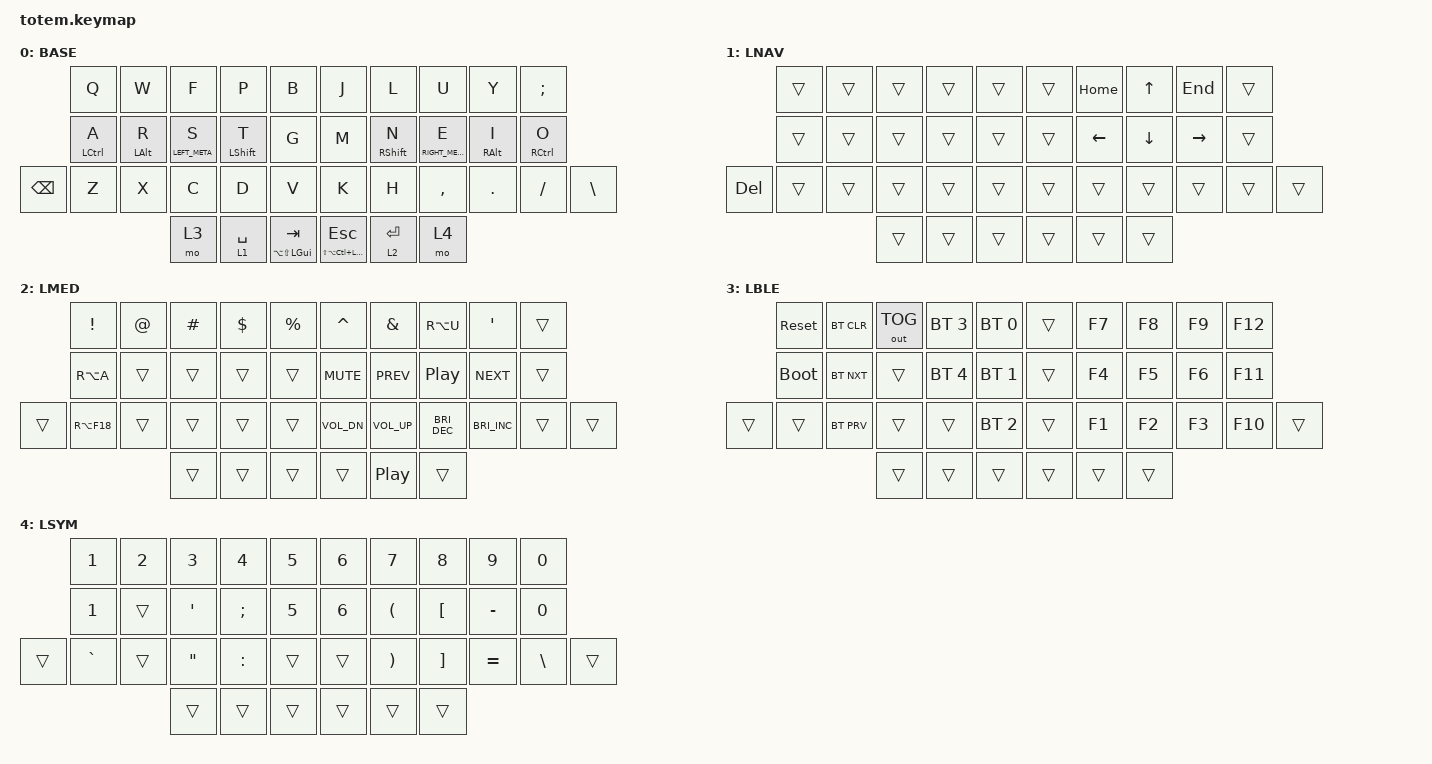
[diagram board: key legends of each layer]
//
//                                                        ▀▀▀▀▀     ▀▀▀▀▀          ▀▀█▀▀
//                                                        ▄▀▀▀▄  ▄  ▄▀▀▀▄  ▄  ▄▀▀▀▄  █  ▄▀▀▀▄
//                                                        █   █  █  █   █  █  █   █  █  █   █
//                                                         ▀▀▀   █   ▀▀▀   █   ▀▀▀   ▀   ▀▀▀
//                                                               █      ▄▄▄█▄▄▄    █   █  
//                                                               ▀      █  █  █     █▄█
//                                                             ▀▀▀▀▀    █  █  █      ▀
//                                                                      ▀  ▀  ▀
//
// ▄▄▄▄▄▄▄▄▄▄▄▄▄▄▄▄▄▄▄▄▄▄▄▄▄▄▄▄▄▄▄▄▄▄▄▄▄▄▄▄▄▄▄▄▄▄▄▄▄▄▄▄▄▄▄▄▄▄▄▄▄▄▄▄▄▄▄▄▄▄▄▄▄▄▄▄▄▄▄▄▄▄▄▄▄▄▄▄▄▄▄▄▄▄▄▄▄▄▄▄▄▄▄▄▄▄▄▄▄▄▄▄▄▄▄▄▄▄▄▄▄▄▄▄▄▄▄▄▄▄▄▄▄▄▄▄▄▄▄▄▄▄▄▄▄▄▄▄▄

#include <behaviors.dtsi>
#include <dt-bindings/zmk/bt.h>
#include <dt-bindings/zmk/keys.h>
#include <dt-bindings/zmk/outputs.h>

#define BASE 0
#define NAV  1
#define SYM  2
#define ADJ  3
#define TVP1 4
#define TVP2 5

&mt {
    quick-tap-ms = <100>;
    global-quick-tap;
    flavor = "tap-preferred";
    tapping-term-ms = <170>;
};

/ {
    combos {
        compatible = "zmk,combos";

        combo_esc {
            timeout-ms = <50>;
            key-positions = <0 1>;
            bindings = <&kp ESC>;
        };

        combo_tvp {
            timeout-ms = <100>;
            key-positions = <11 12 13>;
            bindings = <&tog 0>;
        };
    };

    macros {
        gif: gif {
            label = "giphy";
            compatible = "zmk,behavior-macro";
            #binding-cells = <0>;
            bindings =
                <&macro_press>,
                <&kp LSHFT>,
                <&macro_tap>,
                <&kp N2>,
                <&macro_release>,
                <&kp LSHFT>,
                <&macro_tap>,
                <&kp G &kp I &kp F>;
        };
    };

    behaviors {
        hm: HOMEROW_MOD {
            compatible = "zmk,behavior-hold-tap";
            label = "HOMEROW_MOD";
            bindings = <&kp>, <&kp>;

            #binding-cells = <2>;
            tapping-term-ms = <150>;
            quick-tap-ms = <0>;
            flavor = "tap-preferred";
        };
    };

    keymap {
        compatible = "zmk,keymap";

        // ▄▄▄▄▄▄▄▄▄▄▄▄▄▄▄▄▄▄▄▄▄▄▄▄▄▄▄▄▄▄▄▄▄▄▄▄▄▄▄▄▄▄▄▄▄▄▄▄▄▄▄▄▄▄▄▄▄▄▄▄▄▄▄▄▄▄▄▄▄▄▄▄▄▄▄▄▄▄▄▄▄▄▄▄▄▄▄▄▄▄▄▄▄▄▄▄▄▄▄▄▄▄▄▄▄▄▄▄▄▄▄▄▄▄▄▄▄▄▄▄▄▄▄▄▄▄▄▄▄▄▄▄▄▄▄▄▄▄▄▄▄▄▄▄▄▄▄▄▄

        base_layer {
            // ┏━━━━━━━━━━━━━━━━━━━━━━━━━━━━━━━━━━━━━━━┓

            label = "BASE";

            // ┗━━━━━━━━━━━━━━━━━━━━━━━━━━━━━━━━━━━━━━━┛
            //             ┏━━━━━━━━━━━┳━━━━━━━━━━━┳━━━━━━━━━━━┳━━━━━━━━━━━┳━━━━━━━━━━━┓   ┏━━━━━━━━━━━┳━━━━━━━━━━━┳━━━━━━━━━━━┳━━━━━━━━━━━┳━━━━━━━━━━━┓
            //             ┃     Q     ┃     W     ┃     F     ┃     P     ┃     G     ┃   ┃     J     ┃     L     ┃     U     ┃     Y     ┃     ;     ┃
            //             ┣━━━━━━━━━━━╋━━━━━━━━━━━╋━━━━━━━━━━━╋━━━━━━━━━━━╋━━━━━━━━━━━┫   ┣━━━━━━━━━━━╋━━━━━━━━━━━╋━━━━━━━━━━━╋━━━━━━━━━━━╋━━━━━━━━━━━┫
            //             ┃     A     ┃     R     ┃     S     ┃     T     ┃     D     ┃   ┃     H     ┃     N     ┃     E     ┃     I     ┃     O     ┃
            // ┏━━━━━━━━━━━╋━━━━━━━━━━━╋━━━━━━━━━━━╋━━━━━━━━━━━╋━━━━━━━━━━━╋━━━━━━━━━━━┫   ┣━━━━━━━━━━━╋━━━━━━━━━━━╋━━━━━━━━━━━╋━━━━━━━━━━━╋━━━━━━━━━━━╋━━━━━━━━━━━┓
            // ┃     Q     ┃     Z     ┃     X     ┃     C     ┃     V     ┃     B     ┃   ┃     K     ┃     M     ┃     ,     ┃     .     ┃     /     ┃     \     ┃
            // ┗━━━━━━━━━━━┻━━━━━━━━━━━┻━━━━━━━━━━━╋━━━━━━━━━━━╋━━━━━━━━━━━╋━━━━━━━━━━━┫   ┣━━━━━━━━━━━╋━━━━━━━━━━━╋━━━━━━━━━━━╋━━━━━━━━━━━┻━━━━━━━━━━━┻━━━━━━━━━━━┛
            //                                     ┃    DEL    ┃    TAB    ┃    SPC    ┃   ┃   ENTER   ┃           ┃   BSPC    ┃
            //                                     ┗━━━━━━━━━━━┻━━━━━━━━━━━┻━━━━━━━━━━━┛   ┗━━━━━━━━━━━┻━━━━━━━━━━━┻━━━━━━━━━━━┛

            bindings = <
               &kp Q        &kp W           &kp F            &kp P             &kp B                       &kp J                         &kp L              &kp U             &kp Y            &kp SEMI
               &hm LCTRL A  &hm LEFT_ALT R  &hm LEFT_META S  &hm LEFT_SHIFT T  &kp G                       &kp M                         &hm RIGHT_SHIFT N  &hm RIGHT_META E  &hm RIGHT_ALT I  &hm RCTRL O
&kp BACKSPACE  &kp Z        &kp X           &kp C            &kp D             &kp V                       &kp K                         &kp H              &kp COMMA         &kp DOT          &kp FSLH     &kp BSLH
                                            &mo 3            &lt 1 SPACE       &hm LA(LS(LEFT_GUI)) TAB    &hm LS(LA(LC(LEFT_GUI))) ESC  &lt 2 RET          &mo 4
            >;
        };

        // ▄▄▄▄▄▄▄▄▄▄▄▄▄▄▄▄▄▄▄▄▄▄▄▄▄▄▄▄▄▄▄▄▄▄▄▄▄▄▄▄▄▄▄▄▄▄▄▄▄▄▄▄▄▄▄▄▄▄▄▄▄▄▄▄▄▄▄▄▄▄▄▄▄▄▄▄▄▄▄▄▄▄▄▄▄▄▄▄▄▄▄▄▄▄▄▄▄▄▄▄▄▄▄▄▄▄▄▄▄▄▄▄▄▄▄▄▄▄▄▄▄▄▄▄▄▄▄▄▄▄▄▄▄▄▄▄▄▄▄▄▄▄▄▄▄▄▄▄▄

        nav_layer {
            // ┏━━━━━━━━━━━━━━━━━━━━━━━━━━━━━━━━━━━━━━━┓

            label = "LNAV";

            // ┗━━━━━━━━━━━━━━━━━━━━━━━━━━━━━━━━━━━━━━━┛
            //             ┏━━━━━━━━━━━┳━━━━━━━━━━━┳━━━━━━━━━━━┳━━━━━━━━━━━┳━━━━━━━━━━━┓   ┏━━━━━━━━━━━┳━━━━━━━━━━━┳━━━━━━━━━━━┳━━━━━━━━━━━┳━━━━━━━━━━━┓
            //             ┃           ┃           ┃     UP    ┃           ┃     {     ┃   ┃     }     ┃     7     ┃     8     ┃     9     ┃     +     ┃
            //             ┣━━━━━━━━━━━╋━━━━━━━━━━━╋━━━━━━━━━━━╋━━━━━━━━━━━╋━━━━━━━━━━━┫   ┣━━━━━━━━━━━╋━━━━━━━━━━━╋━━━━━━━━━━━╋━━━━━━━━━━━╋━━━━━━━━━━━┫
            //             ┃   SHIFT   ┃   LEFT    ┃    DOWN   ┃   RIGHT   ┃     [     ┃   ┃     ]     ┃     4     ┃     5     ┃     6     ┃     -     ┃
            // ┏━━━━━━━━━━━╋━━━━━━━━━━━╋━━━━━━━━━━━╋━━━━━━━━━━━╋━━━━━━━━━━━╋━━━━━━━━━━━┫   ┣━━━━━━━━━━━╋━━━━━━━━━━━╋━━━━━━━━━━━╋━━━━━━━━━━━╋━━━━━━━━━━━╋━━━━━━━━━━━┓
            // ┃           ┃           ┃   P UP    ┃  C LOCK   ┃  P DOWN   ┃     (     ┃   ┃     )     ┃     1     ┃     2     ┃     3     ┃     *     ┃           ┃
            // ┗━━━━━━━━━━━┻━━━━━━━━━━━┻━━━━━━━━━━━╋━━━━━━━━━━━╋━━━━━━━━━━━╋━━━━━━━━━━━┫   ┣━━━━━━━━━━━╋━━━━━━━━━━━╋━━━━━━━━━━━╋━━━━━━━━━━━┻━━━━━━━━━━━┻━━━━━━━━━━━┛
            //                                     ┃           ┃    TAB    ┃    SPC    ┃   ┃    DEL    ┃     0     ┃           ┃
            //                                     ┗━━━━━━━━━━━┻━━━━━━━━━━━┻━━━━━━━━━━━┛   ┗━━━━━━━━━━━┻━━━━━━━━━━━┻━━━━━━━━━━━┛

            bindings = <
            &trans  &trans  &trans  &trans  &trans    &trans  &kp HOME        &kp UP_ARROW    &kp END          &trans
            &trans  &trans  &trans  &trans  &trans    &trans  &kp LEFT_ARROW  &kp DOWN_ARROW  &kp RIGHT_ARROW  &trans
&kp DELETE  &trans  &trans  &trans  &trans  &trans    &trans  &trans          &trans          &trans           &trans  &trans
                            &trans  &trans  &trans    &trans  &trans          &trans
            >;
        };

        // ▄▄▄▄▄▄▄▄▄▄▄▄▄▄▄▄▄▄▄▄▄▄▄▄▄▄▄▄▄▄▄▄▄▄▄▄▄▄▄▄▄▄▄▄▄▄▄▄▄▄▄▄▄▄▄▄▄▄▄▄▄▄▄▄▄▄▄▄▄▄▄▄▄▄▄▄▄▄▄▄▄▄▄▄▄▄▄▄▄▄▄▄▄▄▄▄▄▄▄▄▄▄▄▄▄▄▄▄▄▄▄▄▄▄▄▄▄▄▄▄▄▄▄▄▄▄▄▄▄▄▄▄▄▄▄▄▄▄▄▄▄▄▄▄▄▄▄▄▄

        media_layer {
            // ┏━━━━━━━━━━━━━━━━━━━━━━━━━━━━━━━━━━━━━━━┓

            label = "LMED";

            // ┗━━━━━━━━━━━━━━━━━━━━━━━━━━━━━━━━━━━━━━━┛
            //             ┏━━━━━━━━━━━┳━━━━━━━━━━━┳━━━━━━━━━━━┳━━━━━━━━━━━┳━━━━━━━━━━━┓   ┏━━━━━━━━━━━┳━━━━━━━━━━━┳━━━━━━━━━━━┳━━━━━━━━━━━┳━━━━━━━━━━━┓
            //             ┃     !     ┃     @     ┃     #     ┃     $     ┃     %     ┃   ┃     ˆ     ┃     &     ┃     Ü     ┃     '     ┃     "     ┃
            //             ┣━━━━━━━━━━━╋━━━━━━━━━━━╋━━━━━━━━━━━╋━━━━━━━━━━━╋━━━━━━━━━━━┫   ┣━━━━━━━━━━━╋━━━━━━━━━━━╋━━━━━━━━━━━╋━━━━━━━━━━━╋━━━━━━━━━━━┫
            //             ┃     Ä     ┃           ┃    SZ     ┃           ┃           ┃   ┃   MUTE    ┃   YEN     ┃   EURO    ┃  POUND    ┃     Ö     ┃
            // ┏━━━━━━━━━━━╋━━━━━━━━━━━╋━━━━━━━━━━━╋━━━━━━━━━━━╋━━━━━━━━━━━╋━━━━━━━━━━━┫   ┣━━━━━━━━━━━╋━━━━━━━━━━━╋━━━━━━━━━━━╋━━━━━━━━━━━╋━━━━━━━━━━━╋━━━━━━━━━━━┓
            // ┃           ┃  EMAIL1   ┃  EMAIL2   ┃           ┃           ┃           ┃   ┃   VOL-    ┃   VOL+    ┃   LAST    ┃   NEXT    ┃     \     ┃           ┃
            // ┗━━━━━━━━━━━┻━━━━━━━━━━━┻━━━━━━━━━━━╋━━━━━━━━━━━╋━━━━━━━━━━━╋━━━━━━━━━━━┫   ┣━━━━━━━━━━━╋━━━━━━━━━━━╋━━━━━━━━━━━╋━━━━━━━━━━━┻━━━━━━━━━━━┻━━━━━━━━━━━┛
            //                                     ┃           ┃    GIF    ┃    ADJ    ┃   ┃           ┃           ┃           ┃
            //                                     ┗━━━━━━━━━━━┻━━━━━━━━━━━┻━━━━━━━━━━━┛   ┗━━━━━━━━━━━┻━━━━━━━━━━━┻━━━━━━━━━━━┛

            bindings = <
        &kp EXCL     &kp AT  &kp HASH  &kp DLLR  &kp PRCNT    &kp CARET     &kp AMPS      &kp RA(U)             &kp SQT               &trans
        &kp RA(A)    &trans  &trans    &trans    &trans       &kp C_MUTE    &kp C_PREV    &kp C_PLAY_PAUSE      &kp C_NEXT            &trans
&trans  &kp RA(F18)  &trans  &trans    &trans    &trans       &kp C_VOL_DN  &kp C_VOL_UP  &kp C_BRIGHTNESS_DEC  &kp C_BRIGHTNESS_INC  &trans  &trans
                             &trans    &trans    &trans       &trans        &kp C_PP      &trans
            >;
        };

        // ▄▄▄▄▄▄▄▄▄▄▄▄▄▄▄▄▄▄▄▄▄▄▄▄▄▄▄▄▄▄▄▄▄▄▄▄▄▄▄▄▄▄▄▄▄▄▄▄▄▄▄▄▄▄▄▄▄▄▄▄▄▄▄▄▄▄▄▄▄▄▄▄▄▄▄▄▄▄▄▄▄▄▄▄▄▄▄▄▄▄▄▄▄▄▄▄▄▄▄▄▄▄▄▄▄▄▄▄▄▄▄▄▄▄▄▄▄▄▄▄▄▄▄▄▄▄▄▄▄▄▄▄▄▄▄▄▄▄▄▄▄▄▄▄▄▄▄▄▄

        bluetooth_layer {
            // ┏━━━━━━━━━━━━━━━━━━━━━━━━━━━━━━━━━━━━━━━┓

            label = "LBLE";

            // ┗━━━━━━━━━━━━━━━━━━━━━━━━━━━━━━━━━━━━━━━┛
            //             ┏━━━━━━━━━━━┳━━━━━━━━━━━┳━━━━━━━━━━━┳━━━━━━━━━━━┳━━━━━━━━━━━┓   ┏━━━━━━━━━━━┳━━━━━━━━━━━┳━━━━━━━━━━━┳━━━━━━━━━━━┳━━━━━━━━━━━┓
            //             ┃   RESET   ┃ BT CLEAR  ┃  OUT TOG  ┃           ┃           ┃   ┃           ┃    F7     ┃    F8     ┃    F9     ┃    F12    ┃
            //             ┣━━━━━━━━━━━╋━━━━━━━━━━━╋━━━━━━━━━━━╋━━━━━━━━━━━╋━━━━━━━━━━━┫   ┣━━━━━━━━━━━╋━━━━━━━━━━━╋━━━━━━━━━━━╋━━━━━━━━━━━╋━━━━━━━━━━━┫
            //             ┃ BOOTLOAD  ┃ BT NEXT   ┃           ┃           ┃           ┃   ┃           ┃    F4     ┃    F5     ┃    F6     ┃    F11    ┃
            // ┏━━━━━━━━━━━╋━━━━━━━━━━━╋━━━━━━━━━━━╋━━━━━━━━━━━╋━━━━━━━━━━━╋━━━━━━━━━━━┫   ┣━━━━━━━━━━━╋━━━━━━━━━━━╋━━━━━━━━━━━╋━━━━━━━━━━━╋━━━━━━━━━━━╋━━━━━━━━━━━┓
            // ┃           ┃           ┃ BT PREV   ┃           ┃           ┃           ┃   ┃           ┃    F1     ┃    F2     ┃    F3     ┃    F10    ┃           ┃
            // ┗━━━━━━━━━━━┻━━━━━━━━━━━┻━━━━━━━━━━━╋━━━━━━━━━━━╋━━━━━━━━━━━╋━━━━━━━━━━━┫   ┣━━━━━━━━━━━╋━━━━━━━━━━━╋━━━━━━━━━━━╋━━━━━━━━━━━┻━━━━━━━━━━━┻━━━━━━━━━━━┛
            //                                     ┃           ┃           ┃           ┃   ┃           ┃           ┃           ┃
            //                                     ┗━━━━━━━━━━━┻━━━━━━━━━━━┻━━━━━━━━━━━┛   ┗━━━━━━━━━━━┻━━━━━━━━━━━┻━━━━━━━━━━━┛

            bindings = <
        &sys_reset   &bt BT_CLR  &out OUT_TOG  &bt BT_SEL 3  &bt BT_SEL 0    &trans  &kp F7  &kp F8  &kp F9  &kp F12
        &bootloader  &bt BT_NXT  &trans        &bt BT_SEL 4  &bt BT_SEL 1    &trans  &kp F4  &kp F5  &kp F6  &kp F11
&trans  &trans       &bt BT_PRV  &trans        &trans        &bt BT_SEL 2    &trans  &kp F1  &kp F2  &kp F3  &kp F10  &trans
                                 &trans        &trans        &trans          &trans  &trans  &trans
            >;
        };

        // ▄▄▄▄▄▄▄▄▄▄▄▄▄▄▄▄▄▄▄▄▄▄▄▄▄▄▄▄▄▄▄▄▄▄▄▄▄▄▄▄▄▄▄▄▄▄▄▄▄▄▄▄▄▄▄▄▄▄▄▄▄▄▄▄▄▄▄▄▄▄▄▄▄▄▄▄▄▄▄▄▄▄▄▄▄▄▄▄▄▄▄▄▄▄▄▄▄▄▄▄▄▄▄▄▄▄▄▄▄▄▄▄▄▄▄▄▄▄▄▄▄▄▄▄▄▄▄▄▄▄▄▄▄▄▄▄▄▄▄▄▄▄▄▄▄▄▄▄▄
        // ▄▄▄▄▄▄▄▄▄▄▄▄▄▄▄▄▄▄▄▄▄▄▄▄▄▄▄▄▄▄▄▄▄▄▄▄▄▄▄▄▄▄▄▄▄▄▄▄▄▄▄▄▄▄▄▄▄▄▄▄▄▄▄▄▄▄▄▄▄▄▄▄▄▄▄▄▄▄▄▄▄▄▄▄▄▄▄▄▄▄▄▄▄▄▄▄▄▄▄▄▄▄▄▄▄▄▄▄▄▄▄▄▄▄▄▄▄▄▄▄▄▄▄▄▄▄▄▄▄▄▄▄▄▄▄▄▄▄▄▄▄▄▄▄▄▄▄▄▄

        symbols_layer {
            bindings = <
        &kp NUMBER_1  &kp NUMBER_2  &kp NUMBER_3       &kp NUMBER_4   &kp NUMBER_5    &kp NUMBER_6  &kp NUMBER_7           &kp NUMBER_8       &kp NUMBER_9  &kp NUMBER_0
        &kp NUMBER_1  &trans        &kp SINGLE_QUOTE   &kp SEMICOLON  &kp N5          &kp NUMBER_6  &kp LEFT_PARENTHESIS   &kp LEFT_BRACKET   &kp MINUS     &kp NUMBER_0
&trans  &kp GRAVE     &trans        &kp DOUBLE_QUOTES  &kp COLON      &trans          &trans        &kp RIGHT_PARENTHESIS  &kp RIGHT_BRACKET  &kp EQUAL     &kp BACKSLASH  &trans
                                    &trans             &trans         &trans          &trans        &trans                 &trans
            >;

            label = "LSYM";
        };
    };
};
